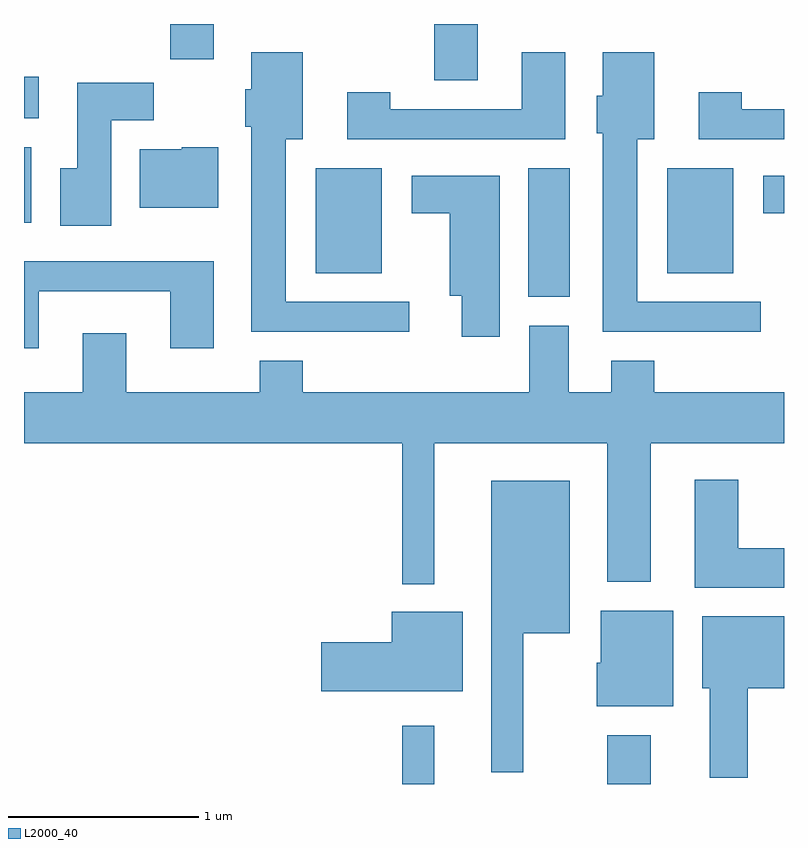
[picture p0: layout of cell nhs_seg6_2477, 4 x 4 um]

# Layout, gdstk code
import gdstk
lib = gdstk.Library(unit=1e-6, precision=1e-09)
def R(c, l, rs):  # rectangles x0, y0, x1, y1
    for r in rs: c.add(gdstk.rectangle(r[:2], r[2:], *l))
def P(c, l, *ps):  # polygons
    for p in ps: c.add(gdstk.Polygon(p, *l))
L2000_40 = (2000, 40)

nhs_seg6_2477 = lib.new_cell('nhs_seg6_2477')
R(nhs_seg6_2477, L2000_40, [(261.601,1628.162,261.769,1628.468), (262.681,1628.162,262.909,1628.419), (262.266,1630.726,262.484,1631.404), (261.146,1630.851,261.494,1631.404), (262.996,1630.851,263.344,1631.404), (259.611,1631.116,259.649,1631.514), (263.501,1631.166,263.611,1631.364), (259.611,1631.666,259.689,1631.884), (261.771,1631.866,261.999,1632.162), (260.381,1631.976,260.609,1632.162)])
P(nhs_seg6_2477, L2000_40, [(261.638,1630.699),(260.989,1630.699),(260.989,1631.556),(261.079,1631.556),(261.079,1632.014),(260.806,1632.014),(260.806,1631.819),(260.776,1631.819),(260.776,1631.621),(260.806,1631.621),(260.806,1630.541),(261.638,1630.541)],
  [(263.488,1630.699),(262.839,1630.699),(262.839,1631.556),(262.929,1631.556),(262.929,1632.014),(262.656,1632.014),(262.656,1631.784),(262.626,1631.784),(262.626,1631.586),(262.656,1631.586),(262.656,1630.541),(263.488,1630.541)],
  [(262.459,1632.014),(262.231,1632.014),(262.231,1631.714),(261.539,1631.714),(261.539,1631.804),(261.311,1631.804),(261.311,1631.556),(262.459,1631.556)],
  [(260.069,1631.656),(260.294,1631.656),(260.294,1631.854),(259.891,1631.854),(259.891,1631.404),(259.801,1631.404),(259.801,1631.101),(260.069,1631.101)],
  [(263.611,1631.714),(263.389,1631.714),(263.389,1631.804),(263.161,1631.804),(263.161,1631.556),(263.611,1631.556)],
  [(260.634,1631.514),(260.44,1631.514),(260.44,1631.504),(260.221,1631.504),(260.221,1631.196),(260.634,1631.196)],
  [(262.114,1631.364),(261.651,1631.364),(261.651,1631.166),(261.851,1631.166),(261.851,1630.731),(261.916,1630.731),(261.916,1630.516),(262.114,1630.516)],
  [(259.689,1630.756),(260.381,1630.756),(260.381,1630.456),(260.609,1630.456),(260.609,1630.914),(259.611,1630.914),(259.611,1630.456),(259.689,1630.456)],
  [(261.769,1629.956),(262.681,1629.956),(262.681,1629.226),(262.909,1629.226),(262.909,1629.956),(263.611,1629.956),(263.611,1630.224),(262.929,1630.224),(262.929,1630.389),(262.701,1630.389),(262.701,1630.224),(262.479,1630.224),(262.479,1630.574),(262.271,1630.574),(262.271,1630.224),(261.079,1630.224),(261.079,1630.389),(260.851,1630.389),(260.851,1630.224),(260.149,1630.224),(260.149,1630.534),(259.921,1630.534),(259.921,1630.224),(259.611,1630.224),(259.611,1629.956),(261.601,1629.956),(261.601,1629.213),(261.769,1629.213)],
  [(263.611,1629.404),(263.369,1629.404),(263.369,1629.764),(263.141,1629.764),(263.141,1629.196),(263.611,1629.196)],
  [(262.239,1628.956),(262.484,1628.956),(262.484,1629.759),(262.071,1629.759),(262.071,1628.223),(262.239,1628.223)],
  [(263.029,1629.074),(262.646,1629.074),(262.646,1628.799),(262.626,1628.799),(262.626,1628.571),(263.029,1628.571)],
  [(261.919,1629.069),(261.546,1629.069),(261.546,1628.909),(261.176,1628.909),(261.176,1628.651),(261.919,1628.651)],
  [(263.419,1628.666),(263.611,1628.666),(263.611,1629.044),(263.181,1629.044),(263.181,1628.666),(263.221,1628.666),(263.221,1628.196),(263.419,1628.196)])

lib.write_gds('nhs_seg6_2477.gds')
